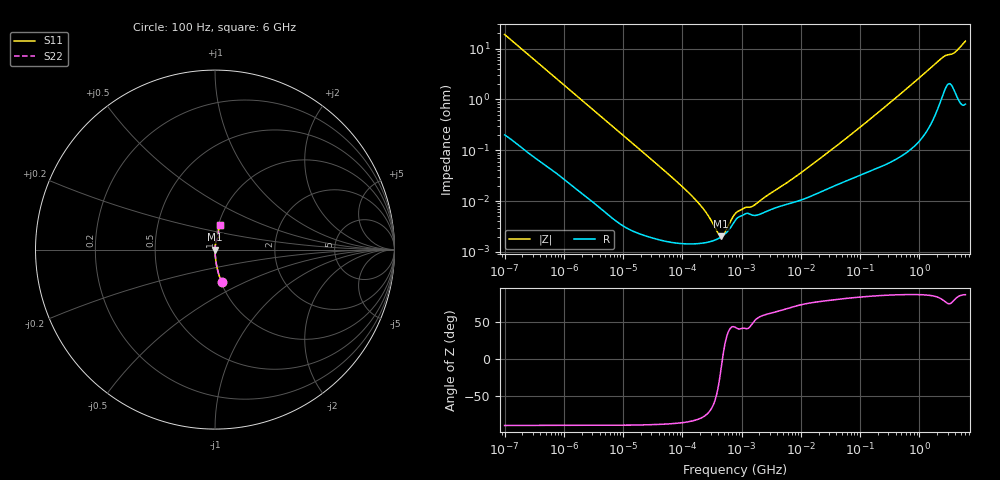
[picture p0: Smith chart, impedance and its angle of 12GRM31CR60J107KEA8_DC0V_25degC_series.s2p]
!Murata Part Number: GRM31CR60J107KEA8
!These Parameters are Measured in Series Mode Connection
!  o--ll--o
!Port1  Port2
!  o------o
!Operation Temp=25[degC], DC Bias Voltage=0[V]
!Freq. Start=100[Hz] Stop=6[GHz], 401[Steps]
!Data Generated on Apr 1, 2021
# Hz S RI R 50
!Freq.(Hz) S11(Real) S11(Imag) S21(Real) S21(Imag) S12(Real) S12(Imag) S22(Real) S22(Imag)
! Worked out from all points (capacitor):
!   401 points, 100 Hz to 6 GHz, reference 50 ohm
!   read as one part in series: C = 83.5 uF near 109.4 Hz
!   lowest |Z| = 2.01 mohm at 452.6 kHz (marker M1)
!   series resonance near 475.3 kHz, so ESL is about 1.3 nH
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100  0.0367 -0.1827  0.9633 0.1827  0.9633 0.1827  0.0367 -0.1827
109.3681  0.0311 -0.1682  0.9689 0.1682  0.9689 0.1682  0.0311 -0.1682
178.974  0.0124 -0.1052  0.9876 0.1052  0.9876 0.1052  0.0124 -0.1052
334.9849  0.00395 -0.057  0.996 0.057  0.996 0.057  0.00395 -0.057
717.1279  0.00109 -0.0269  0.9989 0.0269  0.9989 0.0269  0.00109 -0.0269
2008.354  0.000235 -0.0097  0.9998 0.0097  0.9998 0.0097  0.000235 -0.0097
40334.87  1.75e-05 -0.00049  1 0.00049  1 0.00049  1.75e-05 -0.00049
176757.6  1.45e-05 -9.77e-05  1 9.77e-05  1 9.77e-05  1.45e-05 -9.77e-05
193316.5  1.46e-05 -8.66e-05  1 8.66e-05  1 8.66e-05  1.46e-05 -8.66e-05
452617.2  1.97e-05 -4.17e-06  1 4.17e-06  1 4.17e-06  1.97e-05 -4.17e-06
774596.7  4.08e-05 3.81e-05  1 -3.81e-05  1 -3.81e-05  4.08e-05 3.81e-05
1813585  5.27e-05 7.38e-05  0.9999 -7.38e-05  0.9999 -7.38e-05  5.27e-05 7.38e-05
2074311  5.54e-05 8.64e-05  0.9999 -8.64e-05  0.9999 -8.64e-05  5.54e-05 8.64e-05
6644369  9.01e-05 0.000238  0.9999 -0.000238  0.9999 -0.000238  9.01e-05 0.000238
1.555665e7  0.000128 0.000511  0.9999 -0.000511  0.9999 -0.000511  0.000128 0.000511
6.518806e7  0.000264 0.00188  0.9997 -0.00188  0.9997 -0.00188  0.000264 0.00188
3.124326e8  0.000636 0.0084  0.9994 -0.0084  0.9994 -0.0084  0.000636 0.0084
9.569533e8  0.00206 0.0253  0.9979 -0.0253  0.9979 -0.0253  0.00206 0.0253
2.240541e9  0.0121 0.0593  0.9879 -0.0593  0.9879 -0.0593  0.0121 0.0593
2.679998e9  0.0196 0.0674  0.9804 -0.0674  0.9804 -0.0674  0.0196 0.0674
3.8344e9  0.0215 0.0774  0.9785 -0.0774  0.9785 -0.0774  0.0215 0.0774
6e9  0.0269 0.1355  0.9731 -0.1355  0.9731 -0.1355  0.0269 0.1355
